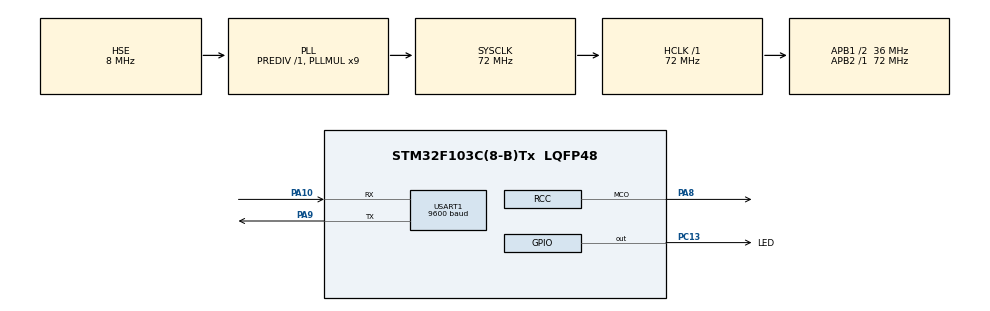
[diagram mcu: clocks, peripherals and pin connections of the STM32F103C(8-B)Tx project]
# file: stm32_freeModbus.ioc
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FREERTOS.Tasks01=defaultTask,0,128,StartDefaultTask,Default,NULL,Dynamic,NULL,NULL;Modbus_Receive,0,128,ModbusRTU_Receive,Default,NULL,Dynamic,NULL,NULL
Mcu.Family=STM32F1
Mcu.Name=STM32F103C(8-B)Tx
Mcu.Package=LQFP48
NVIC.PriorityGroup=NVIC_PRIORITYGROUP_4
NVIC.TIM4_IRQn=true\:0\:0\:false\:false\:true\:false\:false\:true
NVIC.TimeBase=TIM4_IRQn
NVIC.TimeBaseIP=TIM4
NVIC.USART1_IRQn=true\:0\:0\:false\:false\:true\:true\:true\:true
PA10.Mode=Asynchronous
PA10.Signal=USART1_RX
PA13.Mode=Serial_Wire
PA13.Signal=SYS_JTMS-SWDIO
PA14.Mode=Serial_Wire
PA14.Signal=SYS_JTCK-SWCLK
PA8.Mode=Clock-out
PA8.Signal=RCC_MCO
PA9.Mode=Asynchronous
PA9.Signal=USART1_TX
PC13-TAMPER-RTC.GPIO_Label=LED
PC13-TAMPER-RTC.GPIO_PuPd=GPIO_PULLDOWN
PC13-TAMPER-RTC.PinState=GPIO_PIN_SET
PC13-TAMPER-RTC.Signal=GPIO_Output
PC14-OSC32_IN.Mode=LSE-External-Oscillator
PC14-OSC32_IN.Signal=RCC_OSC32_IN
PC15-OSC32_OUT.Mode=LSE-External-Oscillator
PC15-OSC32_OUT.Signal=RCC_OSC32_OUT
PD0-OSC_IN.Mode=HSE-External-Oscillator
PD0-OSC_IN.Signal=RCC_OSC_IN
PD1-OSC_OUT.Mode=HSE-External-Oscillator
PD1-OSC_OUT.Signal=RCC_OSC_OUT
ProjectManager.HeapSize=0x200
ProjectManager.StackSize=0x400
ProjectManager.TargetToolchain=EWARM V8.32
RCC.AHBFreq_Value=72000000
RCC.APB1CLKDivider=RCC_HCLK_DIV2
RCC.APB1Freq_Value=36000000
RCC.APB1TimFreq_Value=72000000
RCC.APB2Freq_Value=72000000
RCC.APB2TimFreq_Value=72000000
RCC.EnbaleCSS=true
RCC.HCLKFreq_Value=72000000
RCC.PLLMUL=RCC_PLL_MUL9
RCC.PLLSourceVirtual=RCC_PLLSOURCE_HSE
RCC.RCC_MCOSource=RCC_MCO1SOURCE_PLLCLK
RCC.SYSCLKFreq_VALUE=72000000
RCC.SYSCLKSource=RCC_SYSCLKSOURCE_PLLCLK
RCC.USBFreq_Value=72000000
TIM3.Period=50
TIM3.Prescaler=1800-1
USART1.BaudRate=9600
USART1.VirtualMode=VM_ASYNC
USART1.WordLength=WORDLENGTH_8B
VP_CRC_VS_CRC.Mode=CRC_Activate
VP_FREERTOS_VS_CMSIS_V1.Mode=CMSIS_V1
VP_SYS_VS_tim4.Mode=TIM4
VP_TIM3_VS_ClockSourceINT.Mode=Internal
board=custom

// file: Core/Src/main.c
/* USER CODE BEGIN Header */
/**
 ******************************************************************************
 * @file           : main.c
 * @brief          : Main program body
 ******************************************************************************
 * @attention
 *
 * <h2><center>&copy; Copyright (c) 2020 STMicroelectronics.
 * All rights reserved.</center></h2>
 *
 * This software component is licensed by ST under BSD 3-Clause license,
 * the "License"; You may not use this file except in compliance with the
 * License. You may obtain a copy of the License at:
 *                        opensource.org/licenses/BSD-3-Clause
 *
 ******************************************************************************
 */
/* USER CODE END Header */
#include "main.h"
#include "cmsis_os.h"
#include "crc.h"
#include "tim.h"
#include "usart.h"
#include "gpio.h"

/* USER CODE BEGIN Includes */
/* ----------------------- Modbus includes ----------------------------------*/
#include "mb.h"
#include "mbport.h"
/* USER CODE END Includes */

/* USER CODE BEGIN PD */
#define REG_INPUT_START 1000
#define REG_INPUT_NREGS 4

/* USER CODE END PD */

/* USER CODE BEGIN PV */
static USHORT   usRegInputStart = REG_INPUT_START;
static USHORT   usRegInputBuf[REG_INPUT_NREGS];

/* USER CODE END PV */

void SystemClock_Config(void);
void MX_FREERTOS_Init(void);

int main(void)
{
  /* USER CODE BEGIN 1 */
    eMBErrorCode    eStatus;

  /* USER CODE END 1 */

  /* MCU Configuration--------------------------------------------------------*/

  /* Reset of all peripherals, Initializes the Flash interface and the Systick. */
  HAL_Init();

  /* Configure the system clock */
  SystemClock_Config();

  /* Initialize all configured peripherals */
  MX_GPIO_Init();
  MX_CRC_Init();
  MX_TIM3_Init();
  MX_USART1_UART_Init();
  /* USER CODE BEGIN 2 */
  eStatus = eMBInit(MB_RTU, 0x01, 1, 115200, MB_PAR_NONE);  //Modbus init
  eStatus = eMBEnable();                                    //Modbus Enable

  /* USER CODE END 2 */

  /* Call init function for freertos objects (in freertos.c) */
  MX_FREERTOS_Init();
  /* Start scheduler */
  osKernelStart();

  /* We should never get here as control is now taken by the scheduler */
  /* Infinite loop */
  while (1)
  {

    /* USER CODE BEGIN 3 */
    ( void )eMBPoll(  );

    /* Here we simply count the number of poll cycles. */
    usRegInputBuf[0]++;
  }
  /* USER CODE END 3 */
}

void SystemClock_Config(void)
{
  RCC_OscInitTypeDef RCC_OscInitStruct = {0};
  RCC_ClkInitTypeDef RCC_ClkInitStruct = {0};

  /** Initializes the RCC Oscillators according to the specified parameters
  * in the RCC_OscInitTypeDef structure.
  */
  RCC_OscInitStruct.OscillatorType = RCC_OSCILLATORTYPE_HSE;
  RCC_OscInitStruct.HSEState = RCC_HSE_ON;
  RCC_OscInitStruct.HSEPredivValue = RCC_HSE_PREDIV_DIV1;
  RCC_OscInitStruct.HSIState = RCC_HSI_ON;
  RCC_OscInitStruct.PLL.PLLState = RCC_PLL_ON;
  RCC_OscInitStruct.PLL.PLLSource = RCC_PLLSOURCE_HSE;
  RCC_OscInitStruct.PLL.PLLMUL = RCC_PLL_MUL9;
  if (HAL_RCC_OscConfig(&RCC_OscInitStruct) != HAL_OK)
  {
    Error_Handler();
  }
  /** Initializes the CPU, AHB and APB buses clocks
  */
  RCC_ClkInitStruct.ClockType = RCC_CLOCKTYPE_HCLK|RCC_CLOCKTYPE_SYSCLK
                              |RCC_CLOCKTYPE_PCLK1|RCC_CLOCKTYPE_PCLK2;
  RCC_ClkInitStruct.SYSCLKSource = RCC_SYSCLKSOURCE_PLLCLK;
  RCC_ClkInitStruct.AHBCLKDivider = RCC_SYSCLK_DIV1;
  RCC_ClkInitStruct.APB1CLKDivider = RCC_HCLK_DIV2;
  RCC_ClkInitStruct.APB2CLKDivider = RCC_HCLK_DIV1;

  if (HAL_RCC_ClockConfig(&RCC_ClkInitStruct, FLASH_LATENCY_2) != HAL_OK)
  {
    Error_Handler();
  }
  HAL_RCC_MCOConfig(RCC_MCO, RCC_MCO1SOURCE_PLLCLK, RCC_MCODIV_1);
  /** Enables the Clock Security System
  */
  HAL_RCC_EnableCSS();
}

/* USER CODE BEGIN 4 */
eMBErrorCode eMBRegInputCB( UCHAR * pucRegBuffer, USHORT usAddress, USHORT usNRegs )
{
    eMBErrorCode    eStatus = MB_ENOERR;
    int             iRegIndex;

    if( ( usAddress >= REG_INPUT_START )
        && ( usAddress + usNRegs <= REG_INPUT_START + REG_INPUT_NREGS ) )
    {
        iRegIndex = ( int )( usAddress - usRegInputStart );
        while( usNRegs > 0 )
        {
            *pucRegBuffer++ =
                ( unsigned char )( usRegInputBuf[iRegIndex] >> 8 );
            *pucRegBuffer++ =
                ( unsigned char )( usRegInputBuf[iRegIndex] & 0xFF );
            iRegIndex++;
            usNRegs--;
        }
    }
    else
    {
        eStatus = MB_ENOREG;
    }

    return eStatus;
}

eMBErrorCode eMBRegHoldingCB( UCHAR * pucRegBuffer, USHORT usAddress, USHORT usNRegs,
                 eMBRegisterMode eMode )
{
    return MB_ENOREG;
}

eMBErrorCode eMBRegCoilsCB( UCHAR * pucRegBuffer, USHORT usAddress, USHORT usNCoils,
               eMBRegisterMode eMode )
{
    return MB_ENOREG;
}

eMBErrorCode eMBRegDiscreteCB( UCHAR * pucRegBuffer, USHORT usAddress, USHORT usNDiscrete )
{
    return MB_ENOREG;
}
/* USER CODE END 4 */

void HAL_TIM_PeriodElapsedCallback(TIM_HandleTypeDef *htim)
{
  if (htim->Instance == TIM4) {
    HAL_IncTick();
  }
}

void Error_Handler(void)
{
}

/************************ (C) COPYRIGHT STMicroelectronics *****END OF FILE****/

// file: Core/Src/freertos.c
/* USER CODE BEGIN Header */
/**
 ******************************************************************************
 * File Name          : freertos.c
 * Description        : Code for freertos applications
 ******************************************************************************
 * @attention
 *
 * <h2><center>&copy; Copyright (c) 2020 STMicroelectronics.
 * All rights reserved.</center></h2>
 *
 * This software component is licensed by ST under Ultimate Liberty license
 * SLA0044, the "License"; You may not use this file except in compliance with
 * the License. You may obtain a copy of the License at:
 *                             www.st.com/SLA0044
 *
 ******************************************************************************
 */
/* USER CODE END Header */

#include "FreeRTOS.h"
#include "task.h"
#include "main.h"
#include "cmsis_os.h"

/* USER CODE BEGIN Includes */
/* ----------------------- Modbus includes ----------------------------------*/
#include "mb.h"
#include "mbport.h"
/* USER CODE END Includes */

/* USER CODE BEGIN PD */
/* -----------------------Modbus Defines -------------------------------------*/
#define REG_INPUT_START 1000
#define REG_INPUT_NREGS 4
/* USER CODE END PD */

/* USER CODE BEGIN Variables */
/* -----------------------Modbus Static variables ----------------------------*/
static USHORT usRegInputStart = REG_INPUT_START;
static USHORT usRegInputBuf[REG_INPUT_NREGS];

/* USER CODE END Variables */
osThreadId defaultTaskHandle;
osThreadId Modbus_ReceiveHandle;

void StartDefaultTask(void const * argument);
void ModbusRTU_Receive(void const * argument);

void MX_FREERTOS_Init(void); /* (MISRA C 2004 rule 8.1) */

/* GetIdleTaskMemory prototype (linked to static allocation support) */
void vApplicationGetIdleTaskMemory( StaticTask_t **ppxIdleTaskTCBBuffer, StackType_t **ppxIdleTaskStackBuffer, uint32_t *pulIdleTaskStackSize );

/* USER CODE BEGIN GET_IDLE_TASK_MEMORY */
static StaticTask_t xIdleTaskTCBBuffer;
static StackType_t xIdleStack[configMINIMAL_STACK_SIZE];

void vApplicationGetIdleTaskMemory(StaticTask_t **ppxIdleTaskTCBBuffer,
	StackType_t **ppxIdleTaskStackBuffer, uint32_t *pulIdleTaskStackSize)
{
  *ppxIdleTaskTCBBuffer = &xIdleTaskTCBBuffer;
  *ppxIdleTaskStackBuffer = &xIdleStack[0];
  *pulIdleTaskStackSize = configMINIMAL_STACK_SIZE;
  /* place for user code */
}
/* USER CODE END GET_IDLE_TASK_MEMORY */

void MX_FREERTOS_Init(void) {

  /* Create the thread(s) */
  /* definition and creation of defaultTask */
  osThreadDef(defaultTask, StartDefaultTask, osPriorityNormal, 0, 128);
  defaultTaskHandle = osThreadCreate(osThread(defaultTask), NULL);

  /* definition and creation of Modbus_Receive */
  osThreadDef(Modbus_Receive, ModbusRTU_Receive, osPriorityNormal, 0, 128);
  Modbus_ReceiveHandle = osThreadCreate(osThread(Modbus_Receive), NULL);

}

void StartDefaultTask(void const * argument)
{
  for (;;)
  {
	osDelay(1);
  }
}

void ModbusRTU_Receive(void const * argument)
{
  /* USER CODE BEGIN ModbusRTU_Receive */
  /* Infinite loop */
  for (;;)
  {
	eMBPoll();

	osDelay(100);
  }
  /* USER CODE END ModbusRTU_Receive */
}

/************************ (C) COPYRIGHT STMicroelectronics *****END OF FILE****/
